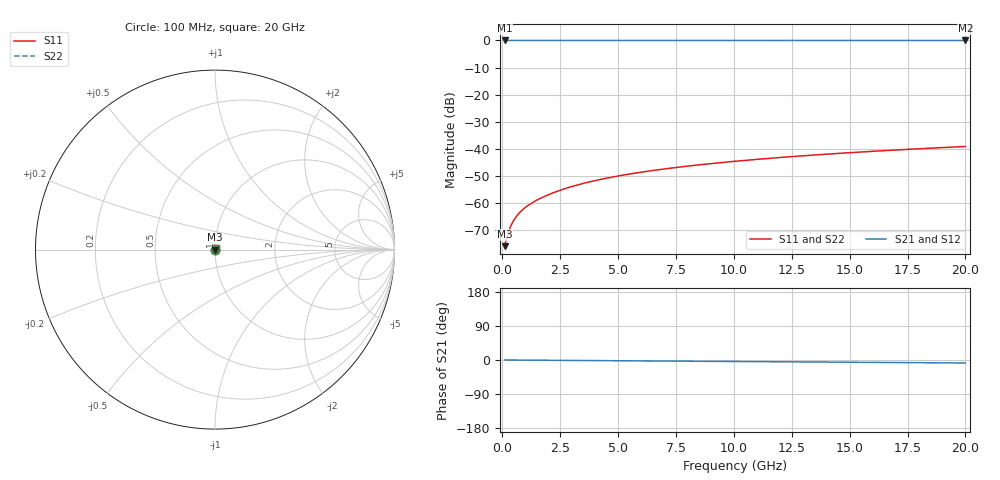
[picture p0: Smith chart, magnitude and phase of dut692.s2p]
! Touchstone file exported from HFSS 2026.1.0
!  File:  C:/ffzhzh/LocalFiles/Ansys_Project_Files/temp_train_TSV_692_1783027667_53980.aedt
!  Generated:  05:29:47 AM Jul  3, 2026
!  Design:  TSV
!  Project:  temp_train_TSV_692_1783027667_53980
! Variables:
!  h_bsmrdl = 2um
!  h_ox = 20um
!  h_rdl = 5um
!  h_sub = 78.11um
!  h_tmrdl = 5um
!  h_tsv = 78.11um
!  h_via = 3um
!  l_bsmrdl = 300um
!  l_sub = 419.54um
!  l_tmrdl = 200um
!  m_sub = 200um
!  pitch = 43.12um
!  r_tsv = 9.77um
!  s_tmrdl = 10um
!  w_bsmrdl = 18um
!  w_sub = 500um
!  w_tmrdl = 12um
!  x_tsv_center1 = 206um
!  x_tsv_center2 = 524um
!  x_tsv_center3 = 736um
!  x_tsv_center4 = 1054um
!  x_tsv_center5 = 1266um
!  x_tsv_center6 = 1584um
# GHz S MA R 50.000000
! Terminal data exported
! Port[1] = TSV1_1_T1
! Port[2] = TSV1_1_T2
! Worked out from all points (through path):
!   200 points, 100 MHz to 20 GHz, reference 50 ohm
!   highest |S21| = 0.00 dB at 100 MHz (marker M1); lowest = 0.0 dB at 20 GHz (marker M2)
!   group delay of S21, straight-line fit = 1.09 ps
!   lowest |S11| = -75.8 dB at 100 MHz (marker M3), VSWR 1.00, Z = 50 + j0.00976 ohm
!   |S11| at or under -10 dB: start of sweep to end of sweep
!   |S22| runs from -75.8 to -39.1 dB; largest |S21 - S12| = 3.5e-15
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0.1  0.0001623 36.9  0.9999 -0.0  0.9999 -0.0  0.0001623 36.9
! Gamma 0 0 0 0
! Port Impedance 50 0 50 0
0.2  0.0002388 53.7  0.9999 -0.1  0.9999 -0.1  0.0002388 53.7
0.3  0.0003243 60.7  0.9998 -0.1  0.9998 -0.1  0.0003243 60.7
0.4  0.0004093 63.9  0.9998 -0.2  0.9998 -0.2  0.0004093 63.9
0.5  0.0004907 65.5  0.9998 -0.2  0.9998 -0.2  0.0004907 65.5
0.6  0.0005678 66.4  0.9998 -0.2  0.9998 -0.2  0.0005678 66.4
0.7  0.0006408 67.1  0.9998 -0.3  0.9998 -0.3  0.0006408 67.1
0.8  0.0007104 67.6  0.9997 -0.3  0.9997 -0.3  0.0007104 67.6
1  0.0008418 68.5  0.9997 -0.4  0.9997 -0.4  0.0008418 68.5
1.4  0.001088 70.2  0.9996 -0.6  0.9996 -0.6  0.001088 70.2
1.7  0.001267 71.4  0.9996 -0.7  0.9996 -0.7  0.001267 71.4
2  0.001444 72.4  0.9996 -0.8  0.9996 -0.8  0.001444 72.4
2.7  0.001857 74.2  0.9995 -1.1  0.9995 -1.1  0.001857 74.2
3.5  0.002325 75.4  0.9995 -1.4  0.9995 -1.4  0.002325 75.4
4.2  0.002729 76.0  0.9994 -1.7  0.9994 -1.7  0.002729 76.0
5  0.003184 76.5  0.9994 -2.0  0.9994 -2.0  0.003184 76.5
6.8  0.004185 77.0  0.9992 -2.7  0.9992 -2.7  0.004185 77.0
8.3  0.005002 77.2  0.9992 -3.3  0.9992 -3.3  0.005002 77.2
10.1  0.00597 77.2  0.9991 -4.0  0.9991 -4.0  0.00597 77.2
13.4  0.007722 76.9  0.9989 -5.3  0.9989 -5.3  0.007722 76.9
16.7  0.009448 76.3  0.9988 -6.6  0.9988 -6.6  0.009448 76.3
20  0.01114 75.5  0.9986 -7.9  0.9986 -7.9  0.01114 75.5
